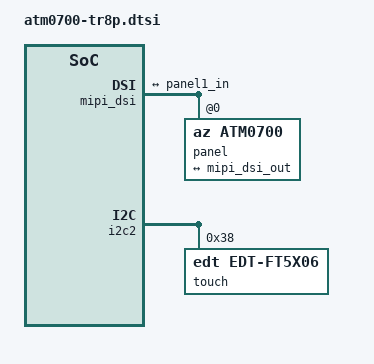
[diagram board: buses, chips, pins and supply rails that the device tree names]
/*
 * Copyright 2021 Keith & Koep GmbH
 *
 */

/*
Remarks:
Defines:
*/

#ifndef ATM0700_TR8P_DTSI
#define ATM0700_TR8P_DTSI

#ifndef DISPLAY_ONLY_18BPP
#define DISPLAY_ONLY_18BPP          0
#endif

&mipi_dsi {

	status              = "okay";
	panel@0 {
		compatible      = "az,atm0700";   /* call driver Panel-simple.c */
		reg             = <0>;
		pinctrl-0       = <&pinctrl_display_enable>;
		enable-gpio     = <display_enable GPIO_ACTIVE_HIGH>;
		dsi-lanes       = <2>;
		panel-width-mm  = <154>;
		panel-height-mm = <86>;
		power           = <&reg_display_pwr>;
		status          = "okay";

		port@1 {
			panel1_in: endpoint {
				remote-endpoint = <&mipi_dsi_out>;
			};
		};

	};
	
	port@1 {
		mipi_dsi_out: endpoint {
			remote-endpoint = <&panel1_in>;
		};
	};
};

&fpga {
	// AZ Display
	// 0x00		I2C_REG_ID:	0x61
	// 0x01		I2C_REG_TEMP:	simple memory register
	// 0x10		I2C_REG_DISPLAY:
	//	0x8.	invert PCLK polarity
	//	0x4.	invert HSync polarity
	// 	0x2.	invert VSync polarity
	//	0x1.	invert Data-Enable polarity
	//	0x.C	24 bpp
	//	0x.8	18 bpp
	//	0x.4	16 bpp
	//	0x.1	Enable MIPI-DSI to RGB conversion
	// 0x20
	//      0x01    Enable Wireless Module 2 UART4
	//      
	tr8fpga,addresses = < 0x10 0x10 >;
#if DISPLAY_ONLY_18BPP
	tr8fpga,values    = < 0x00 0x89 >;
#else
	tr8fpga,values    = < 0x00 0x8D >;
#endif
	status = "okay";
};

#define TOUCH_INT	SPIN45_GPIO
#define touch_int_parent  &gpio3
#define touch_int_pin     4

&i2c2 {
	touch: edt-ft5x06@38 {
		compatible = "edt,edt-ft5x06", "edt,edt-ft5406";
		reg = <0x38>;
		pinctrl-names = "default";
		pinctrl-0 = <&pinctrl_captouch>;
		enable_wakeup = "true";
		interrupt-parent = <touch_int_parent>;
		interrupts = <touch_int_pin IRQ_TYPE_LEVEL_LOW>;
		touch-threshold     = <30>;
		touch-gain          = <3>;
		touch-offset        = <0>;
		touch-report-rate   = <8>;

		//yreverse            = "true";
		//xreverse            = "true";
		xres                = <800>;
		yres	            = <480>;

		linux,wakeup;
	};
};


&iomuxc {
	pinctrl_captouch: captouchgrp {
		fsl,pins = <
					 TOUCH_INT  		PAD_GPIO /* IRQ */
			>;
	};
};

#endif
